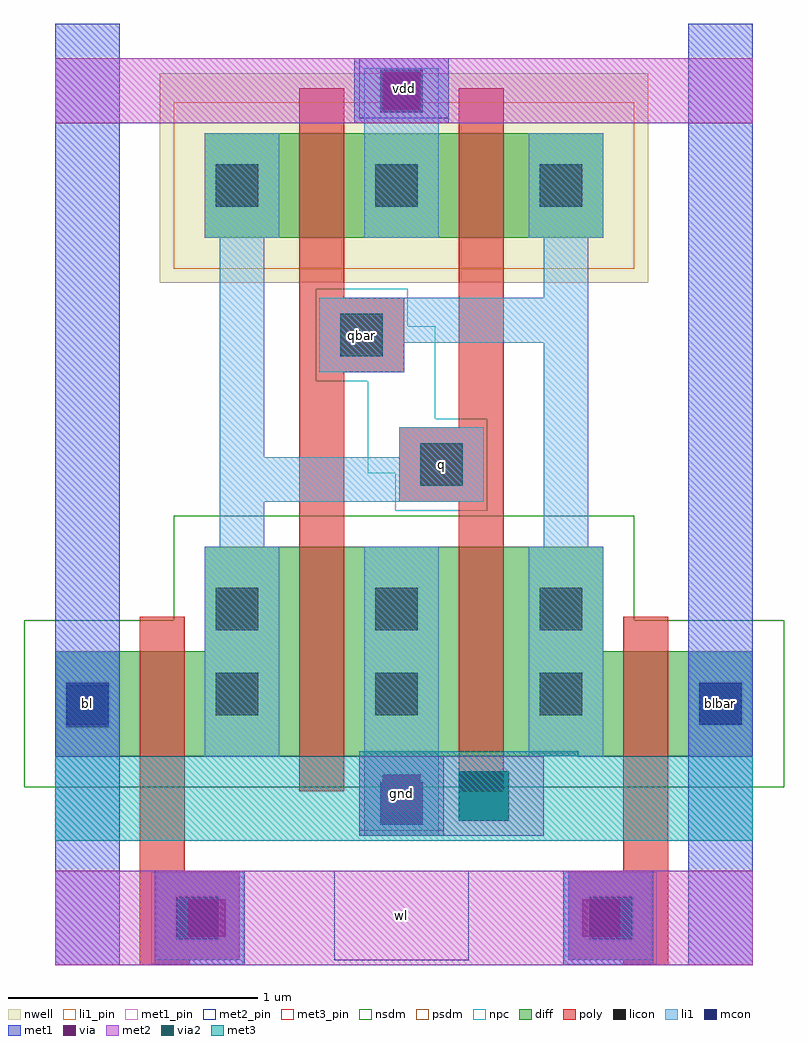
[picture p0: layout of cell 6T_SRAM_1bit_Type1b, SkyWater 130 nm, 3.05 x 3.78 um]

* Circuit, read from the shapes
.subckt 6T_SRAM_1bit_Type1b bl blbar gnd q qbar vdd wl
XM1 q wl bl VSUBS sky130_fd_pr__nfet_01v8 w=0.42 l=0.18
XM2 gnd qbar q VSUBS sky130_fd_pr__nfet_01v8 w=0.84 l=0.18
XM3 qbar q gnd VSUBS sky130_fd_pr__nfet_01v8 w=0.84 l=0.18
XM4 blbar wl qbar VSUBS sky130_fd_pr__nfet_01v8 w=0.42 l=0.18
XM5 vdd qbar q n1 sky130_fd_pr__pfet_01v8 w=0.42 l=0.18
XM6 qbar q vdd n1 sky130_fd_pr__pfet_01v8 w=0.42 l=0.18
.ends

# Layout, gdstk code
import gdstk
lib = gdstk.Library(unit=1e-6, precision=1e-09)
def R(c, l, rs):  # rectangles x0, y0, x1, y1
    for r in rs: c.add(gdstk.rectangle(r[:2], r[2:], *l))
nwell = (64, 20)
diff = (65, 20)
poly = (66, 20)
licon = (66, 44)
li1_pin = (67, 16)
li1 = (67, 20)
mcon = (67, 44)
met1_pin = (68, 16)
met1 = (68, 20)
via = (68, 44)
met2_pin = (69, 16)
met2 = (69, 20)
via2 = (69, 44)
met3_pin = (70, 16)
met3 = (70, 20)
nsdm = (93, 44)
psdm = (94, 20)
npc = (95, 20)

c_6t_sram_1bit_type1b = lib.new_cell('6T_SRAM_1bit_Type1b')
R(c_6t_sram_1bit_type1b, nwell, [(-0.54,1.08,1.42,1.92)])
R(c_6t_sram_1bit_type1b, diff, [(-0.96,-0.82,1.84,-0.4), (-0.36,-0.4,1.24,0.02), (-0.36,1.26,1.24,1.68)])
R(c_6t_sram_1bit_type1b, poly, [(-0.62,-1.66,-0.42,-1.64), (1.32,-1.66,1.5,-1.64), (-0.62,-1.64,-0.22,-1.28), (1.1,-1.64,1.5,-1.28), (-0.62,-1.28,-0.44,-0.26), (1.32,-1.28,1.5,-0.26), (0.02,-0.96,0.2,0.72), (0.66,-0.96,0.84,0.2), (0.42,0.2,0.84,0.5), (0.66,0.5,0.84,1.86), (0.02,0.72,0.44,1.02), (0.02,1.02,0.2,1.86)])
R(c_6t_sram_1bit_type1b, licon, [(-0.475,-1.555,-0.305,-1.385), (1.185,-1.555,1.355,-1.385), (-0.915,-0.705,-0.745,-0.535), (1.625,-0.695,1.795,-0.525), (-0.315,-0.655,-0.145,-0.485), (0.325,-0.655,0.495,-0.485), (0.985,-0.655,1.155,-0.485), (-0.315,-0.315,-0.145,-0.145), (0.325,-0.315,0.495,-0.145), (0.985,-0.315,1.155,-0.145), (0.505,0.265,0.675,0.435), (0.185,0.785,0.355,0.955), (-0.315,1.385,-0.145,1.555), (0.325,1.385,0.495,1.555), (0.985,1.385,1.155,1.555)])
R(c_6t_sram_1bit_type1b, li1_pin, [(0.42,0.2,0.76,0.5), (0.1,0.72,0.44,1.02)])
R(c_6t_sram_1bit_type1b, li1, [(-0.56,-1.64,-0.22,-1.28), (1.1,-1.64,1.44,-1.28), (0.28,-1.14,0.58,0.02), (-0.96,-0.82,-0.7,-0.4), (-0.36,-0.82,-0.06,0.02), (0.94,-0.82,1.24,0.02), (1.58,-0.82,1.84,-0.4), (-0.3,0.02,-0.12,0.2), (1,0.02,1.18,0.84), (-0.3,0.2,0.76,0.38), (-0.3,0.38,-0.12,1.26), (0.42,0.38,0.76,0.5), (0.1,0.72,0.44,0.84), (0.1,0.84,1.18,1.02), (1,1.02,1.18,1.26), (-0.36,1.26,-0.06,1.68), (0.28,1.26,0.58,1.94), (0.94,1.26,1.24,1.68)])
R(c_6t_sram_1bit_type1b, mcon, [(-0.475,-1.555,-0.305,-1.385), (1.185,-1.555,1.355,-1.385), (0.345,-1.095,0.515,-0.925), (-0.915,-0.695,-0.745,-0.525), (1.625,-0.695,1.795,-0.525), (0.345,1.765,0.515,1.935)])
R(c_6t_sram_1bit_type1b, met1_pin, [(-0.96,-0.82,-0.7,-0.4), (1.58,-0.82,1.84,-0.4)])
R(c_6t_sram_1bit_type1b, met1, [(-0.96,-1.66,-0.7,2.12), (-0.56,-1.66,-0.2,-1.28), (1.08,-1.66,1.44,-1.28), (1.58,-1.66,1.84,2.12), (0.26,-1.14,0.6,-0.82), (0.24,1.72,0.62,1.98)])
R(c_6t_sram_1bit_type1b, via, [(-0.425,-1.545,-0.275,-1.395), (1.155,-1.545,1.305,-1.395), (0.355,-1.045,0.505,-0.895), (0.355,1.775,0.505,1.925)])
R(c_6t_sram_1bit_type1b, met2_pin, [(0.16,-1.64,0.7,-1.28), (0.26,1.74,0.62,1.98)])
R(c_6t_sram_1bit_type1b, met2, [(-0.96,-1.66,1.84,-1.28), (0.26,-1.14,1,-0.82), (-0.96,1.72,1.84,1.98)])
R(c_6t_sram_1bit_type1b, via2, [(0.66,-1.08,0.86,-0.88)])
R(c_6t_sram_1bit_type1b, met3_pin, [(0.26,-1.12,0.6,-0.82)])
R(c_6t_sram_1bit_type1b, met3, [(-0.96,-1.16,1.84,-0.82), (0.26,-0.82,1.14,-0.8)])
R(c_6t_sram_1bit_type1b, nsdm, [(-1.085,-0.945,1.965,-0.275), (-0.485,-0.275,1.365,0.145)])
R(c_6t_sram_1bit_type1b, psdm, [(-0.485,1.135,1.365,1.805)])
R(c_6t_sram_1bit_type1b, npc, [(-0.575,-1.655,-0.205,-1.285), (1.085,-1.655,1.455,-1.285), (0.405,0.165,0.775,0.315), (0.295,0.315,0.775,0.535), (0.295,0.535,0.565,0.685), (0.085,0.685,0.565,0.905), (0.085,0.905,0.455,1.055)])
c_6t_sram_1bit_type1b.add(gdstk.Label('qbar', (0.27,0.87), layer=67, texttype=5))
c_6t_sram_1bit_type1b.add(gdstk.Label('q', (0.59,0.35), layer=67, texttype=5))
c_6t_sram_1bit_type1b.add(gdstk.Label('bl', (-0.83,-0.61), layer=68, texttype=5))
c_6t_sram_1bit_type1b.add(gdstk.Label('blbar', (1.71,-0.61), layer=68, texttype=5))
c_6t_sram_1bit_type1b.add(gdstk.Label('wl', (0.43,-1.46), layer=69, texttype=5))
c_6t_sram_1bit_type1b.add(gdstk.Label('vdd', (0.44,1.86), layer=69, texttype=5))
c_6t_sram_1bit_type1b.add(gdstk.Label('gnd', (0.43,-0.97), layer=70, texttype=5))

lib.write_gds('6T_SRAM_1bit_Type1b.gds')
